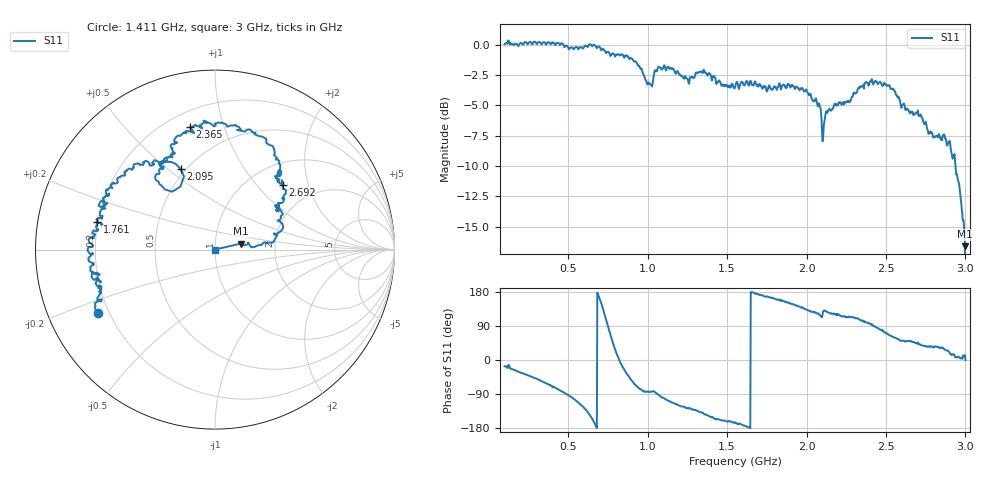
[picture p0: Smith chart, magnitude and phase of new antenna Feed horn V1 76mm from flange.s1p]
# HZ S RI R 50
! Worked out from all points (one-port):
!   1010 points, 100 MHz to 3 GHz, reference 50 ohm
!   lowest |S11| = -16.6 dB at 2.997 GHz (marker M1), VSWR 1.35, Z = 66.6 + j4.62 ohm
!   |S11| at or under -10 dB: 2.938 GHz to end of sweep
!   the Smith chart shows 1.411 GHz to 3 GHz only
!   S11 on the Smith chart (normalised r, x): 1.411 GHz: 0.16, -0.25; 1.761 GHz: 0.20, +0.11; 2.095 GHz: 0.47, +0.55; 2.365 GHz: 0.29, +0.77; 2.692 GHz: 1.40, +1.40; 3 GHz: 1.00, +0.00
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1e8  0.9634 -0.2831
2.983152e8  0.6725 -0.767
4.650149e8  0.1096 -1.006
6.087215e8  -0.6392 -0.7608
6.460853e8  -0.8772 -0.4725
6.83449e8  -0.9748 0.0439
7.150645e8  -0.7474 0.606
7.495541e8  -0.0173 0.9347
7.897919e8  0.7485 0.5191
8.271556e8  0.9014 -0.0895
8.731418e8  0.6995 -0.5605
9.22002e8  0.356 -0.7784
1.189296e9  -0.3722 -0.6845
1.410605e9  -0.6512 -0.3505
1.551437e9  -0.6545 -0.154
1.761249e9  -0.6567 0.1528
1.913578e9  -0.572 0.3689
2.094648e9  -0.1922 0.4501
2.275719e9  -0.2266 0.5405
2.364817e9  -0.1386 0.681
2.531517e9  0.2923 0.5907
2.637859e9  0.3494 0.414
2.692468e9  0.378 0.3626
2.899406e9  0.3772 0.1401
2.979881e9  0.2035 0.0119
2.982755e9  0.1879 0.0313
2.997126e9  0.1439 0.0339
3e9  0 0
